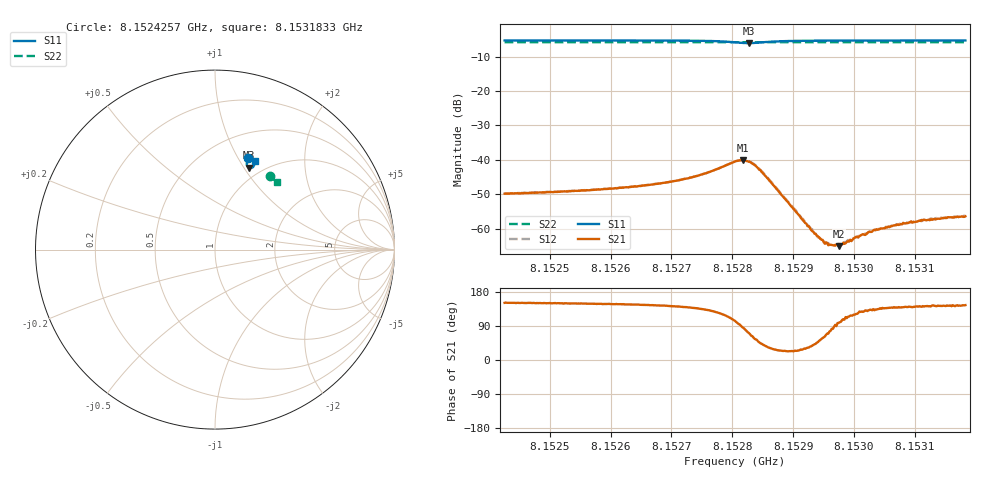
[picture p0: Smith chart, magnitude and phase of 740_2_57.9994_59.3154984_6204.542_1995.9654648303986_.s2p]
#  HZ  S  RI  R  50.00
! Rohde & Schwarz Vector Network Analyzer
! Rohde-Schwarz,ZNB20-2Port,1311601062101988,3.16
! Created: UTC 3/21/2024, 1:23:27 AM
! freq[Hz]  re:S11  im:S11  re:S21  im:S21  re:S12  im:S12  re:S22  im:S22
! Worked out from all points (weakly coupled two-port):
!   401 points, 8.1524257 GHz to 8.1531833 GHz, reference 50 ohm
!   highest |S21| = -40.04 dB at 8.1528178 GHz (marker M1); lowest = -65.1 dB at 8.152975 GHz (marker M2)
!   lowest |S11| = -6.1 dB at 8.1528272 GHz (marker M3), VSWR 2.96, Z = 43.6 + j52.7 ohm
!   |S11| at or under -10 dB: nowhere
!   |S22| runs from -5.9 to -5.8 dB; largest |S21 - S12| = 0.00027
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8.15242572e9  0.1841 0.5081  -0.00282 0.00157  -0.00283 0.00161  0.3067 0.4089
8.15255262e9  0.1941 0.5041  -0.00309 0.00184  -0.00306 0.0019  0.3131 0.4038
8.15262648e9  0.2006 0.5012  -0.00334 0.0022  -0.00332 0.00224  0.3168 0.4009
8.15267951e9  0.2062 0.498  -0.00367 0.00265  -0.00364 0.00268  0.3195 0.3986
8.15271171e9  0.21 0.4949  -0.00393 0.00315  -0.00389 0.00323  0.3211 0.397
8.1527458e9  0.215 0.4895  -0.00426 0.00418  -0.00423 0.00423  0.3226 0.3956
8.15280451e9  0.2132 0.4615  -0.00215 0.00919  -0.00216 0.00916  0.3249 0.3923
8.15281777e9  0.2004 0.4551  0.000832 0.00991  0.000734 0.00989  0.325 0.3915
8.15282724e9  0.1887 0.457  0.00302 0.00888  0.00313 0.00903  0.3252 0.3915
8.1528386e9  0.1789 0.4665  0.00477 0.00664  0.00484 0.00676  0.3254 0.3915
8.15284997e9  0.1768 0.4778  0.00487 0.00424  0.00502 0.00435  0.3261 0.3916
8.15293141e9  0.1987 0.498  0.000729 0.000566  0.00079 0.000585  0.331 0.3886
8.15294277e9  0.2006 0.498  0.000476 0.000578  0.000514 0.000537  0.3315 0.3881
8.15295035e9  0.202 0.498  0.000314 0.000552  0.000384 0.000537  0.3319 0.3879
8.1529636e9  0.2039 0.4979  7.83e-05 0.000576  0.000109 0.000551  0.3325 0.3873
8.15297497e9  0.2056 0.4977  -7.9e-05 0.000552  -6.91e-05 0.000597  0.3332 0.3868
8.15298254e9  0.2064 0.4975  -0.000191 0.000596  -0.000163 0.000598  0.3334 0.3864
8.15300148e9  0.2087 0.4971  -0.000371 0.000644  -0.000335 0.000655  0.3344 0.3857
8.15303368e9  0.2122 0.4964  -0.000628 0.000718  -0.000671 0.000703  0.336 0.3843
8.1530583e9  0.2144 0.4957  -0.000785 0.000711  -0.000764 0.000719  0.3373 0.3832
8.15311133e9  0.2191 0.4942  -0.00103 0.000855  -0.000987 0.000822  0.3396 0.381
8.1531833e9  0.2248 0.4919  -0.00124 0.000872  -0.00121 0.000925  0.3431 0.3777
